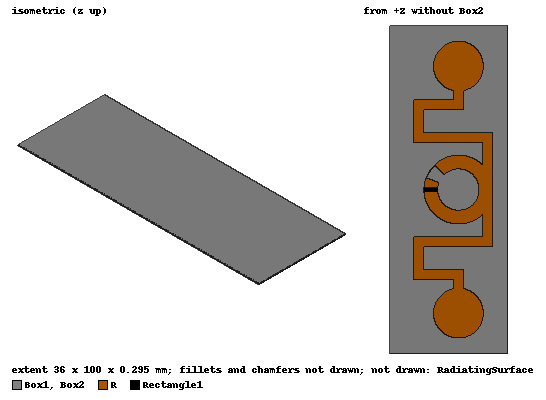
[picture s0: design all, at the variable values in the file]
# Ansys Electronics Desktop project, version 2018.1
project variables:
  $E = 580
  $Z = 10
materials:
  BOPP: permittivity=2.25 dielectric_loss_tangent=0.0005
  PET: permittivity=3 dielectric_loss_tangent=0.0012
  copper: permeability=0.999991 conductivity=58000000
  vacuum: permittivity=1

design all (HFSS, DrivenModal, model units mm)
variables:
  h1 = 0.02mm
  L3 = 6.9mm
  L4 = 5.75mm
  H = 0.225mm
  P = 4.2mm
  th = 25.6deg
  v = 0.2mm
  ph = 20deg
  Q = 3.2mm
  h2 = 0.05mm
  R1 = 10.5mm
  R2 = 7.6mm
  L1 = 11mm
  L2 = 17.9mm
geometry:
  Rectangle1 = rectangle(corner=(-R1, -0.5mm, h1/2), x_size=p, y_size=1mm)
  RadiatingSurface [vacuum] = region(absolute_offset=111.11111mm on all sides)
  Box1 [PET] = box(corner=(-21mm, -50mm, -H), size=(36mm, 100mm, H))
  R [copper] = cylinder(axis=Z, base_centre=(0mm, 0mm, 0mm), radius=R1, height=h1)
  r_1 = cylinder(axis=Z, base_centre=(0mm, 0mm, 0mm), radius=R1-p, height=h1)
  R.subtract(r_1)
  cutport1 = box(corner=(-R1, -0.5mm, 0mm), size=(R1, 1mm, h1))
  R.subtract(cutport1)
  11 = polyline((0mm, 0mm, 0mm) (-(R1-v), 0mm, 0mm))
  12 = 11.duplicate_around_axis(axis=Z, angle=-th, total=2)
  w = polyline(z=0mm, xy: (-(R1-v), 0mm) (-10.044038mm, 2.2819495mm) (-9.288875mm, 4.4504832mm), AngularArc from point 0 over 3 centre=(0mm, 0mm, 0mm) angle=-th plane=XY)
  11.unite(12, w)
  11.cover_lines()
  11.sweep_along_vector((0mm, 0mm, h1))
  11.rotate(axis=Z, angle=-ph)
  R.subtract(11)
  2 = box(corner=(R1-Q, 0, 0mm), size=(Q, L1+Q, h1))
  3 = box(corner=(R1, L1+Q, 0mm), size=(-(L2+Q), Q, h1))
  3.chamfer(Edges=R.edge(12 of 12) LeftDistance=1mm RightDistance=1mm ChamferType=Symmetric)
  4 = box(corner=(R1-L2-Q, L1+Q, 0mm), size=(-Q, Q+L3, h1))
  4.chamfer(Edges=R.edge(9 of 12) LeftDistance=1mm RightDistance=1mm ChamferType=Symmetric)
  5 = box(corner=(R1-L2-2*Q, L1+L3+2*Q, 0mm), size=(-(R1-L2)+Q/2+Q, Q, h1))
  5.chamfer(Edges=R.edge(11 of 12) LeftDistance=1mm RightDistance=1mm ChamferType=Symmetric)
  6 = box(corner=(R1-Q-L2+-(R1-L2)+Q/2, L1+L3+2*Q, 0mm), size=(Q, L4+Q, h1))
  6.chamfer(Edges=R.edge(10 of 12) LeftDistance=1mm RightDistance=1mm ChamferType=Symmetric)
  Cylinder1 = cylinder(axis=Z, base_centre=(0mm, L1+L3+2*Q+L4+R2, 0mm), radius=R2, height=h1)
  r_2 = cylinder(axis=Z, base_centre=(0mm, 0mm, 0mm), radius=R1-p, height=h1)
  2.subtract(r_2)
  2.unite(3..6)
  2_1 = 2.duplicate_mirror(point=(0mm, 0mm, 0mm), normal=(0mm, -1mm, 0mm))
  Cylinder1_1 = Cylinder1.duplicate_mirror(point=(0mm, 0mm, 0mm), normal=(0mm, -1mm, 0mm))
  R.unite(2, Cylinder1, 2_1, Cylinder1_1)
  Box2 [BOPP] = box(corner=(-21mm, -50mm, h1), size=(36mm, 100mm, h2))
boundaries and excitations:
  Open1: Radiation Objects=RadiatingSurface
  1: Lumped Port Objects=Rectangle1 Modes{Mode1{IntLine{middle of Rectangle1.edge(y opposite corner) -> middle of Rectangle1.edge(y at corner)} CharImp=Zpi}} Impedance="(30.53+1i*211) ohm"
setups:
  Setup1: HfssDriven Frequency=922MHz MaxDeltaS=0.02 MaximumPasses=30 MinimumPasses=1 MinimumConvergedPasses=1 PercentRefinement=30 BasisOrder=1 PortAccuracy=2
    sweep Sweep: 800MHz to 1000MHz step 0.5MHz; Type=Fast SaveFields
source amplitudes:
  1:1: 1W 0deg
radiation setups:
  3D: Infinite Sphere Theta=0deg..180deg step 2deg Phi=-180deg..180deg step 2deg
  Elevation: Infinite Sphere Theta=-180deg..180deg step 1deg Phi=0deg..90deg step 90deg
  Azimuth: Infinite Sphere Theta=90deg..90deg step 0deg Phi=-180deg..180deg step 1deg
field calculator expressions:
  Phase_Ez_deg = Fundamental_Quantity(0) | ScalarZ | Phase | 3.14159265358979 | / | 180 | *
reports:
  S Parameter Plot 1: dB(S(1,1)) vs Freq on Setup1 : Sweep; markers m1 at 0.924GHz
  Z Parameter Plot 1: re(Z(1,1)), im(Z(1,1)) vs Freq on Setup1 : Sweep; markers MX1 at x=9.22e+08
  Gain Plot 1: dB(GainTotal) vs Phi, Theta on Setup1 : LastAdaptive, 3D [Freq=0.922GHz]
  Antenna Params Table 1: RadiationEfficiency vs Freq on Setup1 : LastAdaptive
  S Parameter Plot 2: dB(S(1,1)) vs Freq on Setup1 : Sweep; markers m1 at 0.924GHz
  Z Parameter Plot 2: re(Z(1,1)), im(Z(1,1)) vs Freq on Setup1 : Sweep; markers MX1 at x=9.22e+08
